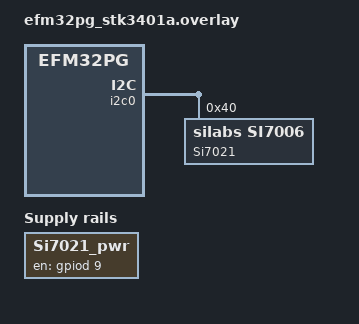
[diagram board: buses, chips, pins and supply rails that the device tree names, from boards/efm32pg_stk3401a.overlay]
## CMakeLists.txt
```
cmake_minimum_required(VERSION 3.13.1)

find_package(Zephyr REQUIRED HINTS $ENV{ZEPHYR_BASE})
project(temp-logger)
target_sources(app PRIVATE src/main.c src/temp_sens.c)
```

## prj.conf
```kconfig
CONFIG_GPIO=y
CONFIG_I2C_SHELL=y
```

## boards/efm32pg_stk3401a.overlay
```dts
/*
 * Copyright (c) 2021 Rafael Dias Menezes
 *
 * SPDX-License-Identifier: Apache-2.0
 */
 
/ {
    Si7021_pwr: Si7021-pwr-ctrl {
        compatible = "regulator-fixed";
        regulator-name = "Si7021 enable pin";
        enable-gpios = < &gpiod 9 0 >;
        label = "Si7021-pwr";
		status = "okay";
    };
};
&i2c0 { 
	status = "okay";
	si7021@40{
		compatible = "silabs,si7006";
		reg = <0x40>;
		label = "Si7021";
		status = "okay";
	};
};
```

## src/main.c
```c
#include <zephyr.h>
#include <stdio.h>
#include "temp_sens.h"

#define SLEEP_TIME_MS 1000

void main(void)
{
	int rc = sens_temp_init();
	if ( NULL != 0 ) 
	{
		printf( "Could not get sensor device\n" );
		return;
	}

	rc = sens_temp_enable();
	if ( rc < 0 )
	{
		printk("error enabling regulator\n");
		return;
	}

	k_sleep(K_MSEC(100));

	while( true )
	{
		struct sensor_value temp, hum; 

		rc = sens_temp_sample_fetch();
		if (rc == 0)
		{
			rc = sens_temp_get_temp( &temp );
		}

		if (rc == 0) 
		{
			rc = sens_temp_get_humid( &hum );
		}

		if ( rc != 0)
		{
			printf( "sens temp hum: failed %d\n", rc);
			break;
		}

		printf("temp: %.f - hum %.f RH\n", 
				sensor_value_to_double( &temp ), 
				sensor_value_to_double( &hum ));

		k_sleep( K_MSEC(SLEEP_TIME_MS) );
	}

	return;
}
```

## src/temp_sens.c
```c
#include <devicetree.h>
#include <device.h>
#include <drivers/i2c.h>
#include <drivers/sensor.h>
#include <drivers/regulator.h>

static struct onoff_client cli;
static struct onoff_manager *callback_srv;
static struct onoff_client *callback_cli;
static uint32_t callback_state;
static int callback_res;
static onoff_client_callback callback_fn;

static void callback(	struct onoff_manager *srv,
						struct onoff_client *cli,
						uint32_t state,
						int res)
{
	onoff_client_callback cb = callback_fn;

	callback_srv = srv;
	callback_cli = cli;
	callback_state = state;
	callback_res = res;
	callback_fn = NULL;

	if (cb != NULL) {
		cb(srv, cli, state, res);
	}
}

static void reset_callback(void)
{
	callback_srv = NULL;
	callback_cli = NULL;
	callback_state = INT_MIN;
	callback_res = 0;
	callback_fn = NULL;
}

static void reset_client(void)
{
	cli = (struct onoff_client){};
	reset_callback();
	sys_notify_init_callback(&cli.notify, callback);
}

const struct device* dev_si7021 = NULL;
const struct device* pwr = NULL;

int sens_temp_init(void)
{
	dev_si7021 = device_get_binding("Si7021");

	if ( NULL == dev_si7021 ) 
	{
		return -1;
	}

	pwr = device_get_binding( "Si7021-pwr" );
	if (NULL == pwr )
	{
		return -1;
	}	

	reset_client();

    return 0;
}

int sens_temp_enable(void)
{
    int rc; 
	rc = regulator_enable( pwr, &cli );
    return rc;
}

int sens_temp_disable(void)
{
	int rc = regulator_disable( pwr );
	return rc;
}

int sens_temp_sample_fetch()
{
    int rc = sensor_sample_fetch(dev_si7021);
    return rc;
}

int sens_temp_get_temp(struct sensor_value* value)
{
    int rc = sensor_channel_get(dev_si7021, SENSOR_CHAN_AMBIENT_TEMP, value); 
    return rc;
}

int sens_temp_get_humid(struct sensor_value* value)
{
    int rc = sensor_channel_get(dev_si7021, SENSOR_CHAN_HUMIDITY, value); 
    return rc;
}
```

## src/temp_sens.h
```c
#pragma once

#include <drivers/sensor.h>

int sens_temp_init(void);

int sens_temp_enable(void);

int sens_temp_disable(void);

int sens_temp_sample_fetch( void );

int sens_temp_get_temp(struct sensor_value* value);

int sens_temp_get_humid(struct sensor_value* value);
```
